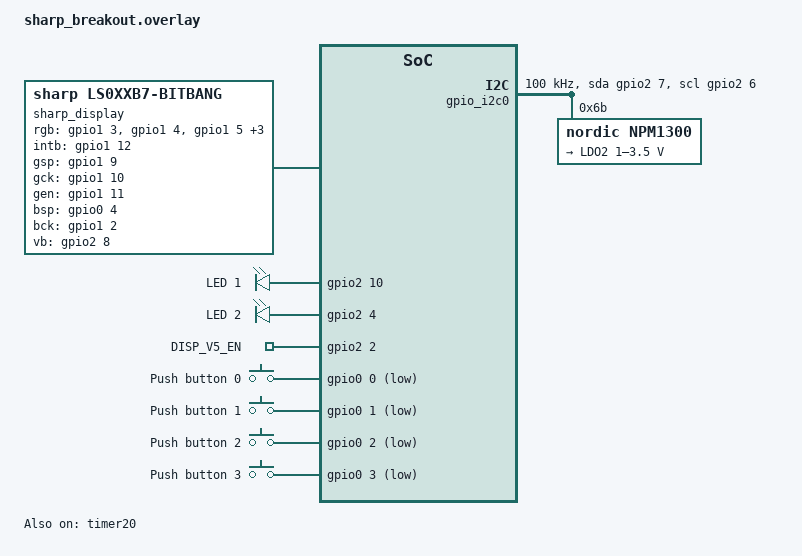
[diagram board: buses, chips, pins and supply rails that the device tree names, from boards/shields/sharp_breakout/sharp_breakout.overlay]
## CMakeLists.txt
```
# SPDX-License-Identifier: Apache-2.0

cmake_minimum_required(VERSION 3.20.0)
find_package(Zephyr REQUIRED HINTS $ENV{ZEPHYR_BASE})
project(sharp_bitbang)

target_sources(app PRIVATE src/main.c src/disp_vcom.c src/display_sharp_ls0xxb7_bitbang.c)
```

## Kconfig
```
source "Kconfig.zephyr"

menu "Sharp LS0XXB7 Display Options"

choice
    prompt "Display Mode"
    default SHARP_LS0XXB7_DISPLAY_MODE_COLOR

config SHARP_LS0XXB7_DISPLAY_MODE_COLOR
    bool "Color (2-bit per R/G/B). Currently internally represented as a 16-bit RGB565 value in the internal buffer to enable use with LGVL."

config SHARP_LS0XXB7_DISPLAY_MODE_MONOCHROME
    bool "Monochrome (1-bit). If black/white is all you need, this mode saves RAM by keeping only one bit per pixel in the buffer."

endchoice

endmenu
```

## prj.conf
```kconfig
CONFIG_GPIO=y
CONFIG_REGULATOR=y
CONFIG_REGULATOR_NPM1300=y
CONFIG_I2C=y
CONFIG_SENSOR=y
CONFIG_LED=y

CONFIG_FLASH=n
CONFIG_SPI=n

# CONFIG_EARLY_CONSOLE=y

CONFIG_NRFX_TIMER22=y
CONFIG_NRFX_GPPI=y

CONFIG_DISPLAY=y
# CONFIG_DISPLAY_LOG_LEVEL_DBG=y

CONFIG_NFCT_PINS_AS_GPIOS=y
# Use NFC pins as GPIOs to avoid conflicts with the display.

#
# Uncomment for 16-bit color.
#
CONFIG_LV_COLOR_DEPTH_16=y
CONFIG_LV_Z_BITS_PER_PIXEL=16
CONFIG_SHARP_LS0XXB7_DISPLAY_MODE_COLOR=y
# This is necessary to enforce that partial updates are lined up with the
# beginning of each row. The Sharp display only supports skipping full rows
# during partial updated, so we can never start a partial update in the middle
# of a row. This number must be a power of two, and the smallest one above the
# display width is enough.
# A better approach is to use capabilities->SCREEN_INFO_X_ALIGNMENT_WIDTH, but
# it currently is only used by monochrome pixel format displays.
CONFIG_LV_Z_AREA_X_ALIGNMENT_WIDTH=512

#
# Uncomment for monochrome mode.
#
# CONFIG_LV_Z_BITS_PER_PIXEL=1
# CONFIG_SHARP_LS0XXB7_DISPLAY_MODE_MONOCHROME=y

# Causes LVGL to keep the full screen buffer in RAM.
# CONFIG_LV_Z_FULL_REFRESH=y

# CONFIG_MAIN_STACK_SIZE=4096
CONFIG_MAIN_STACK_SIZE=16384

# RTT.
CONFIG_LOG_DEFAULT_LEVEL=3
# CONFIG_I2C_LOG_LEVEL_DBG=y
# CONFIG_GPIO_LOG_LEVEL_DBG=y
CONFIG_RTT_CONSOLE=y
CONFIG_USE_SEGGER_RTT=y
CONFIG_LOG=y
CONFIG_LOG_BACKEND_RTT=y
CONFIG_LOG_BACKEND_UART=n
CONFIG_LOG_BACKEND_RTT_BUFFER_SIZE=4096
CONFIG_SEGGER_RTT_BUFFER_SIZE_UP=4096

# CONFIG_UART_CONSOLE=n
# CONFIG_TFM_SECURE_UART=n
# CONFIG_LOG=n
# CONFIG_CONSOLE=n
# CONFIG_UART_CONSOLE=n
# CONFIG_RTT_CONSOLE=n
# CONFIG_LOG=n
CONFIG_CONSOLE=n
CONFIG_UART_CONSOLE=n
# CONFIG_RTT_CONSOLE=n

# LVGL.
CONFIG_LVGL=y
CONFIG_LV_Z_MEM_POOL_SIZE=16384

CONFIG_LV_USE_LOG=y
CONFIG_LV_LOG_LEVEL_ERROR=y
CONFIG_LV_USE_LABEL=y
CONFIG_LV_USE_ARC=y
CONFIG_LV_USE_MONKEY=y
CONFIG_LV_FONT_DEFAULT_MONTSERRAT_28=y

# BLE.
# CONFIG_BT=y
# CONFIG_BT_DEVICE_NAME="Relog"
# CONFIG_BT_CTLR_TX_PWR_PLUS_4=y

# UART
# CONFIG_LOG_DEFAULT_LEVEL=4

CONFIG_CBPRINTF_FP_SUPPORT=y

CONFIG_PM_DEVICE=y
CONFIG_SENSOR_LOG_LEVEL_DBG=y

# CONFIG_POWEROFF=y

CONFIG_HEAP_MEM_POOL_SIZE=50512
CONFIG_IDLE_STACK_SIZE=4096
CONFIG_SYSTEM_WORKQUEUE_STACK_SIZE=4096
CONFIG_MAIN_STACK_SIZE=4096
```

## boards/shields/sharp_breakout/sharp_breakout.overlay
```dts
#include <dt-bindings/regulator/npm1300.h>

/delete-node/ &pwm20;

/delete-node/ &uart30;

/delete-node/ &spi00;

/delete-node/ &pwm_led1;


/delete-node/ &uart20;

// bit-bang i2c.

// &i2c30 {
// 	status = "okay";
// 	pinctrl-0 = <&i2c30_default>;
// 	pinctrl-1 = <&i2c30_sleep>;
// 	pinctrl-names = "default", "sleep";
// };

&pinctrl {
	/delete-node/ spi00_default;
	/delete-node/ spi00_sleep;
	/delete-node/ uart30_default;
	/delete-node/ uart30_sleep;
	/delete-node/ pwm20_default;
	/delete-node/ pwm20_sleep;

	// If I comment these out, the display does not work?
	// /omit-if-no-ref/ i2c30_default: i2c30_default {
	// 	group1  {
	// 		psels = <NRF_PSEL(TWIM_SCL, 0, 1)>,
	// 				<NRF_PSEL(TWIM_SDA, 0, 0)>;
	// 		// psels = <NRF_PSEL(TWIM_SCL, 2, 6)>,
	// 		// 		<NRF_PSEL(TWIM_SDA, 2, 7)>;
	// 		bias-pull-up;
	// 	};
	// };

	// /omit-if-no-ref/ i2c30_sleep: i2c30_sleep {
	// 	group1  {
	// 		psels = <NRF_PSEL(TWIM_SCL, 0, 1)>,
	// 				<NRF_PSEL(TWIM_SDA, 0, 0)>;
	// 		// psels = <NRF_PSEL(TWIM_SCL, 2, 6)>,
	// 		// 		<NRF_PSEL(TWIM_SDA, 2, 7)>;
	// 		low-power-enable;
	// 		bias-pull-up;
	// 	};
	// };

};

&nfct {
	status = "disabled";
};

// &uicr {
// 	nfct-pins-as-gpios;
// };

/ {

	chosen {
		zephyr,display = &sharp_display;

		/delete-property/ zephyr,console;
		/delete-property/ zephyr,shell-uart;
		/delete-property/ zephyr,uart-mcumgr;
		/delete-property/ zephyr,bt-mon-uart;
		/delete-property/ zephyr,bt-c2h-uart;
	};

	sharp_display: sharp_ls0xxb7 {
		compatible = "sharp,ls0xxb7-bitbang";
		status = "okay";
		height = <280>;
		width = <280>;
		rgb-gpios =
								<&gpio1 3 GPIO_ACTIVE_HIGH>,
								<&gpio1 4 GPIO_ACTIVE_HIGH>,  // r1 [1]
								<&gpio1 5 GPIO_ACTIVE_HIGH>,  // g0 [2]
								<&gpio1 6 GPIO_ACTIVE_HIGH>,  // g1 [3]
								<&gpio1 7 GPIO_ACTIVE_HIGH>,  // b0 [4]
								<&gpio1 8 GPIO_ACTIVE_HIGH>;  // b1 [5]
								intb-gpios = <&gpio1 12 GPIO_ACTIVE_HIGH>;
		gsp-gpios = <&gpio1 9 GPIO_ACTIVE_HIGH>;
		gck-gpios = <&gpio1 10 GPIO_ACTIVE_HIGH>;
		gen-gpios = <&gpio1 11 GPIO_ACTIVE_HIGH>;
		bsp-gpios = <&gpio0 4 GPIO_ACTIVE_HIGH>;
		bck-gpios = <&gpio1 2 GPIO_ACTIVE_HIGH>;
		vb-gpios = <&gpio2 8 GPIO_ACTIVE_HIGH>;
		va-gpios = <&gpio2 9 GPIO_ACTIVE_HIGH>;
		vcom-freq = <30>;
	};

	/delete-node/ aliases;


	leds {
		compatible = "gpio-leds";
		led1: led_1 {
			gpios = <&gpio2 10 0>;
			label = "LED 1";
		};

		led2: led_2 {
			gpios = <&gpio2 4 GPIO_ACTIVE_HIGH>;
			label = "LED 2";
		};

		dispv5en: dispv5_en {
			gpios = <&gpio2 2 GPIO_ACTIVE_HIGH>;
			label = "DISP_V5_EN";
		};
	};

	buttons {
		compatible = "gpio-keys";
		// Defaults to 30ms.
		debounce-interval-ms = <60>;
		button0: button_0 {
			gpios = <&gpio0 0 (GPIO_PULL_UP | GPIO_ACTIVE_LOW)>;
			label = "Push button 0";
			zephyr,code = <INPUT_KEY_0>;
		};
		button1: button_1 {
			gpios = <&gpio0 1 (GPIO_PULL_UP | GPIO_ACTIVE_LOW)>;
			label = "Push button 1";
			zephyr,code = <INPUT_KEY_1>;
		};
		button2: button_2 {
			gpios = <&gpio0 2 (GPIO_PULL_UP | GPIO_ACTIVE_LOW)>;
			label = "Push button 2";
			zephyr,code = <INPUT_KEY_2>;
		};
		button3: button_3 {
			gpios = <&gpio0 3 (GPIO_PULL_UP | GPIO_ACTIVE_LOW)>;
			label = "Push button 3";
			zephyr,code = <INPUT_KEY_3>;
		};
	};

	gpio_i2c0: gpio_i2c {
		compatible = "gpio-i2c";
		status = "okay";
		clock-frequency = <I2C_BITRATE_STANDARD>;
		// clock-frequency = <I2C_BITRATE_FAST>;
		sda-gpios = <&gpio2 7 (GPIO_OPEN_DRAIN | GPIO_PULL_UP)>;
		scl-gpios = <&gpio2 6 (GPIO_OPEN_DRAIN | GPIO_PULL_UP)>;
		#address-cells = <1>;
		#size-cells = <0>;

		sht4x@44 {
			compatible = "sensirion,sht4x";
			reg = <0x44>;
			label = "SHT40";
			// status = "okay";
			status = "disabled";
			repeatability= <2>;

			// Without this, the display does not work. Possibly because the npm1300 fails to intiialize?
			// But we need to call device_init() at runtime.
			zephyr,deferred-init;
		};

		lsm6dsl: lsm6dsl@6a {
			compatible = "st,lsm6dsl";
			reg = <0x6a>;
			// status = "okay";
			status = "disabled";
			label = "LSM6DSL";
		};

		npm1300: npm1300@6b {
			compatible = "nordic,npm1300";
			status = "okay";
			reg = <0x6b>;

			// leds.
			npm1300_leds: leds {
				compatible = "nordic,npm1300-led";
				nordic,led0-mode = "charging";
				nordic,led1-mode = "host";
				nordic,led2-mode = "error";
			};

			npm1300_charger: charger {
				status = "okay";
				compatible = "nordic,npm1300-charger";
				term-microvolt = <4150000>;
				term-warm-microvolt = <4000000>;
				current-microamp = <32000>;
				vbus-limit-microamp = <100000>;
				dischg-limit-microamp = <200000>;
				thermistor-ohms = <0>;
				thermistor-beta = <3380>;
				charging-enable;

				// compatible = "nordic,npm1300-charger";
				// term-microvolt = <4150000>;
				// term-warm-microvolt = <4000000>;
				// current-microamp = <150000>;
				// dischg-limit-microamp = <1000000>;
				// vbus-limit-microamp = <500000>;
				// thermistor-ohms = <0>;
				// thermistor-beta = <3380>;
				// charging-enable;
			};

			npm1300_regulators: regulators {
				compatible = "nordic,npm1300-regulator";

				BUCK1 {
					status = "disabled";
				};

				BUCK2 {
					status = "disabled";
				};

				LDO1 {
					status = "disabled";
				};

				LDO2 {
					regulator-min-microvolt = <1000000>;
					regulator-max-microvolt = <3500000>;
					regulator-boot-on;
					regulator-always-on;
					status = "okay";

					// status = "disabled";

					// Not needed?
					regulator-initial-mode = <NPM1300_LDSW_MODE_LDSW>;
				};

			};
		};

	};

};

// &uicr {
// 	nfct-pins-as-gpios;
// };

&timer20 {
	status = "okay";
};
```

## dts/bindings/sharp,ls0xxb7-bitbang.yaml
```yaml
# Copyright 2025 Nordic Semiconductor
#
# SPDX-License-Identifier: Apache-2.0

description: |
  Sharp 64 color memory-in-pixel bit banged controller. Emulates proprietary parallel interface.

compatible: "sharp,ls0xxb7-bitbang"

include: [display-controller.yaml]

properties:
  rgb-gpios:
    type: phandle-array
    required: true
    description: |
      Must contain references to 6 GPIO for 2 bit RGB color.
  intb-gpios:
    type: phandle-array
    required: true
    description: |
      Initial signal for binary driver && gate driver
  gsp-gpios:
    type: phandle-array
    required: true
    description: |
      Start signal for gate driver
  gck-gpios:
    type: phandle-array
    required: true
    description: |
      Clock for gate driver
  gen-gpios:
    type: phandle-array
    required: true
    description: |
      Gate enable
  bsp-gpios:
    type: phandle-array
    required: true
    description: |
      Start signal for binary driver
  bck-gpios:
    type: phandle-array
    required: true
    description: |
      Clock for binary driver
  vb-gpios:
    type: phandle-array
    required: true
    description: |
      VB black signal voltage for LCD, also connected to VCOM.

      If omitted, the VB/VCOM signals are not generated and the pin
      is assumed to be driven by other means.
  va-gpios:
    type: phandle-array
    required: false
    description: |
      VA, white signal voltage for LCD.

      If omitted, the VA signal is not generated and the pin is assumed to be driven by other means.
  vcom-freq:
    type: int
    default: 30
    enum:
      - 30
      - 60
    description: |
      Frequency of VCOM in Hertz
```

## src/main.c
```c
#include <lvgl.h>
#include <lvgl_display.h>
#include <stdio.h>
#include <zephyr/device.h>
#include <zephyr/drivers/display.h>
#include <zephyr/drivers/gpio.h>
#include <zephyr/drivers/led.h>
#include <zephyr/dt-bindings/gpio/nordic-nrf-gpio.h>
#include <zephyr/kernel.h>
#include <zephyr/logging/log.h>

// nPM1300.
#include <zephyr/drivers/mfd/npm1300.h>
#include <zephyr/drivers/regulator.h>
#include <zephyr/dt-bindings/regulator/npm1300.h>

// sht40.
#include <zephyr/drivers/sensor/sht4x.h>

// Power management.
#include <zephyr/pm/device.h>

// static const struct device *regulators =
//     DEVICE_DT_GET(DT_NODELABEL(npm1300_regulators));
// static const struct device *ldo2 = DEVICE_DT_GET(DT_NODELABEL(npm1300_ldo2));

// BLE.
// #include <zephyr/bluetooth/bluetooth.h>
// #include <zephyr/bluetooth/hci.h>
// #define DEVICE_NAME CONFIG_BT_DEVICE_NAME
// #define DEVICE_NAME_LEN (sizeof(DEVICE_NAME) - 1)

// static const struct bt_data ad[] = {
//     BT_DATA_BYTES(BT_DATA_FLAGS, BT_LE_AD_NO_BREDR),
//     BT_DATA_BYTES(BT_DATA_UUID16_ALL, 0xaa, 0xfe),
//     BT_DATA_BYTES(BT_DATA_SVC_DATA16, 0xaa, 0xfe, /* Eddystone UUID */
//                   0x10,                           /* Eddystone-URL frame type
//                   */ 0x00, /* Calibrated Tx power at 0m */ 0x00, /* URL
//                   Scheme Prefix http://www. */ 'z', 'e', 'p', 'h', 'y', 'r',
//                   'p', 'r', 'o', 'j', 'e', 'c', 't', 0x08) /* .org */
// };

// /* Set Scan Response data */
// static const struct bt_data sd[] = {
//     BT_DATA(BT_DATA_NAME_COMPLETE, DEVICE_NAME, DEVICE_NAME_LEN),
// };

static const struct device *leds = DEVICE_DT_GET(DT_NODELABEL(npm1300_leds));

LOG_MODULE_REGISTER(main, CONFIG_DISPLAY_LOG_LEVEL);

// #define DISPLAY_H DT_PROP(DT_NODELABEL(sharp_display), height)
// #define DISPLAY_W DT_PROP(DT_NODELABEL(sharp_display), width)

static const struct device *display_dev =
    DEVICE_DT_GET(DT_NODELABEL(sharp_display));

// static const struct gpio_dt_spec vddio_en =
//     GPIO_DT_SPEC_GET(DT_NODELABEL(vddio_en), gpios);
// static const struct gpio_dt_spec vbus_en =
//     GPIO_DT_SPEC_GET(DT_NODELABEL(vbus_en), gpios);
static const struct gpio_dt_spec dispv5en =
    GPIO_DT_SPEC_GET(DT_NODELABEL(dispv5en), gpios);

static const struct gpio_dt_spec led0 =
    GPIO_DT_SPEC_GET(DT_NODELABEL(led1), gpios);

// Buttons.
static const struct gpio_dt_spec button0 =
    GPIO_DT_SPEC_GET(DT_NODELABEL(button0), gpios);
static const struct gpio_dt_spec button1 =
    GPIO_DT_SPEC_GET(DT_NODELABEL(button1), gpios);

static struct gpio_callback button_cb_data;

// Callbacks.
static void button_pressed(const struct device *dev, struct gpio_callback *cb,
                           uint32_t pins) {
  LOG_INF("Button pressed: pins %d", pins);
}

// static void bt_ready(int err) {
//   char addr_s[BT_ADDR_LE_STR_LEN];
//   bt_addr_le_t addr = {0};
//   size_t count = 1;

//   if (err) {
//     LOG_ERR("Bluetooth init failed (err %d)\n", err);
//     return;
//   }

//   LOG_INF("Bluetooth initialized\n");

//   /* Start advertising */
//   err = bt_le_adv_start(BT_LE_ADV_NCONN_IDENTITY, ad, ARRAY_SIZE(ad), sd,
//                         ARRAY_SIZE(sd));
//   if (err) {
//     LOG_ERR("Advertising failed to start (err %d)\n", err);
//     return;
//   }

//   /* For connectable advertising you would use
//    * bt_le_oob_get_local().  For non-connectable non-identity
//    * advertising an non-resolvable private address is used;
//    * there is no API to retrieve that.
//    */

//   bt_id_get(&addr, &count);
//   bt_addr_le_to_str(&addr, addr_s, sizeof(addr_s));

//   LOG_INF("Beacon started, advertising as %s\n", addr_s);
// }

int main(void) {
  NRF_NFCT->PADCONFIG = 0;

  // gpio_pin_configure_dt(&vddio_en, GPIO_OUTPUT_HIGH);
  // gpio_pin_configure_dt(&vbus_en, GPIO_OUTPUT_HIGH);
  LOG_INF("Okay0!");
  gpio_pin_configure_dt(&led0, GPIO_OUTPUT);
  gpio_pin_configure_dt(&dispv5en, GPIO_OUTPUT_HIGH);

  LOG_INF("Okay1!");

  // Configure buttons.
  int ret = 0;
  ret = gpio_pin_configure_dt(&button0, GPIO_INPUT);
  if (ret != 0) {
    LOG_ERR("Error %d: failed to configure %s pin %d\n", ret,
            button0.port->name, button0.pin);
    return 0;
  }

  ret = gpio_pin_interrupt_configure_dt(&button0, GPIO_INT_EDGE_TO_ACTIVE);
  if (ret != 0) {
    LOG_ERR("Error %d: failed to configure %s pin %d\n", ret,
            button0.port->name, button0.pin);
    return 0;
  }

  ret = gpio_pin_configure_dt(&button1, GPIO_INPUT);
  if (ret != 0) {
    LOG_ERR("Error %d: failed to configure %s pin %d\n", ret,
            button1.port->name, button1.pin);
    return 0;
  }
  ret = gpio_pin_interrupt_configure_dt(&button1, GPIO_INT_EDGE_TO_ACTIVE);
  if (ret != 0) {
    LOG_ERR("Error %d: failed to configure %s pin %d\n", ret,
            button1.port->name, button1.pin);
    return 0;
  }

  gpio_init_callback(&button_cb_data, button_pressed,
                     BIT(button0.pin) | BIT(button1.pin));

  ret = gpio_add_callback(button0.port, &button_cb_data);
  if (ret != 0) {
    LOG_ERR("Error %d: failed to add callback for %s pin %d\n", ret,
            button0.port->name, button0.pin);
    return 0;
  }

  // if (!device_is_ready(regulators)) {
  //   LOG_ERR("Error: Regulator device is not ready\n");
  //   return 0;
  // }

  // if (!device_is_ready(ldo2)) {
  //   LOG_ERR("Error: LDO2 device is not ready\n");
  //   return 0;
  // }

  // ret = bt_enable(bt_ready);
  // if (ret) {
  //   LOG_ERR("Bluetooth init failed (err %d)\n", ret);
  // }

  // Power up.
  // gpio_pin_set_dt(&vddio_en, 1);
  // k_busy_wait(1000);
  // gpio_pin_set_dt(&vbus_en, 1);
  // k_busy_wait(1000);

  // ~186uA -> 209uA (20 uA)
  gpio_pin_set_dt(&dispv5en, 1);
  k_busy_wait(1000);

  // 5v pump: 186 -> 209ua = 20uA
  // vb/va: 209uA -> 170uA = 39uA
  // Display disconnected: 209uA -> 150uA = 59 uA (color)
  // Display partial update every second: 209uA -> 434 uA
  // During display update: 209uA -> 1.2mA
  // Without display in dts (but display connected): 209uA -> 170 uA.
  // Without display in dts and display disconnected: 209uA -> 170 uA as well!

  // Without display, disconnected, charge pump off: 146 uA.
  // Without display, disconnected, charge pump off, LDO2 disabled: 146 uA

  // Without display, disconnected, charge pump off, LDO2 disabled, system off
  // 144 uA
  // Without display, disconnected, charge pump off, LDO2 disabled, system off,
  // lsm6 disabled: 1.2 mA!!!
  // Without display, disconnected, charge pump off, LDO2 disabled, system off,
  // sht4x disabled: 146 uA
  // Without display, disconnected, charge pump off, LDO2 disabled, system off,
  // CONFIG_LOG=n:

  // So: 20 + 39 + 59 = 118uA

  // From datasheet:
  // SHT4x start at 30uA (power up) then goes into idle at 1uA.
  // LSM6DSL: 3uA in power down mode.

  // With everything off:

  if (!device_is_ready(display_dev)) {
    LOG_ERR("Device not ready, aborting test");
    return 0;
  }

  // lv_disp_set_rotation(lv_disp_get_default(), LV_DISP_ROT_180);

  // lv_obj_t *scr = lv_scr_act();
  lv_obj_t *scr = lv_screen_active();

  // Square.
  lv_obj_t *square = lv_obj_create(scr);
  lv_obj_set_style_bg_opa(square, LV_OPA_COVER, LV_PART_MAIN);
  lv_obj_set_size(square, 180, 128);
  lv_obj_align(square, LV_ALIGN_CENTER, 0, 0);

  // Text.
  lv_obj_t *label = lv_label_create(scr);
  lv_label_set_long_mode(label, LV_LABEL_LONG_WRAP);
  lv_obj_set_width(label, 110);
  lv_label_set_text(label, "Hello, world");
  lv_obj_align(label, LV_ALIGN_CENTER, 0, 0);

#if CONFIG_SHARP_LS0XXB7_DISPLAY_MODE_MONOCHROME
  // lv_obj_set_style_bg_color(square, lv_color_black(), LV_PART_MAIN);
#elif CONFIG_SHARP_LS0XXB7_DISPLAY_MODE_COLOR
  // Paint background white.
  static lv_style_t style_bg_white;
  lv_style_init(&style_bg_white);
  lv_style_set_bg_color(&style_bg_white, lv_color_white());
  // lv_style_set_bg_color(&style_bg_white, lv_color_hex(0x0000ff));
  lv_style_set_bg_opa(&style_bg_white, LV_OPA_COVER);
  lv_obj_add_style(scr, &style_bg_white, LV_PART_MAIN);

  // Square.
  static lv_style_t style;
  lv_style_init(&style);
  lv_style_set_bg_color(&style, lv_color_hex(0x00ff00));
  lv_style_set_border_color(&style, lv_color_hex(0x0000ff));
  lv_style_set_border_width(&style, 4);
  lv_obj_add_style(square, &style, LV_PART_MAIN);
  lv_obj_update_layout(square);

  // Paint text red.
  static lv_style_t style_red;
  lv_style_init(&style_red);
  lv_style_set_text_color(&style_red, lv_color_hex(0xff0000));
  lv_obj_add_style(label, &style_red, LV_PART_MAIN);
#endif  // CONFIG_SHARP_LS0XXB7_DISPLAY_MODE_COLOR

  LOG_INF("Okay2!");
  // lv_disp_set_rotation(NULL, LV_DISP_ROT_180);

  // SHT40.
  // const struct device *const sht = DEVICE_DT_GET_ANY(sensirion_sht4x);
  // struct sensor_value temp, hum;
  // if (!device_is_ready(sht)) {
  //   LOG_WRN("SHT40 %s is not ready.\n", sht->name);

  //   // Enable sht.
  //   ret = device_init(sht);
  //   if (ret < 0) {
  //     LOG_ERR("Error: %d\n", ret);
  //     return 0;
  //   }
  //   LOG_INF("SHT40 %s is ready.\n", sht->name);
  //   // return 0;
  // }
  // LOG_INF("SHT40 %s is ready.\n", sht->name);

  // LSM6DSL.
  // struct sensor_value accel[3];
  // const struct device *lsm6 = DEVICE_DT_GET_ANY(st_lsm6dsl);
  // if (!device_is_ready(lsm6)) {
  //   LOG_ERR("Device %s is not ready\n", lsm6->name);
  //   return 0;
  // }

  // // Suspend LSM6DSL.
  // ret = pm_device_action_run(lsm6, PM_DEVICE_ACTION_SUSPEND);
  // if (ret < 0) {
  //   LOG_ERR("Error in pm_device_action_run: %d\n", ret);
  //   return 0;
  // }
  // LOG_INF("LSM6DSL %s is suspended\n", lsm6->name);

  // LOG_INF("Device %s is ready\n", lsm6->name);
  // struct sensor_value odr_attr;
  // odr_attr.val1 = 104;
  // odr_attr.val2 = 0;
  // if (sensor_attr_set(lsm6, SENSOR_CHAN_ACCEL_XYZ,
  //                     SENSOR_ATTR_SAMPLING_FREQUENCY, &odr_attr) < 0) {
  //   printk("Cannot set sampling frequency for accelerometer.\n");
  //   return 0;
  // }

  // if (sensor_attr_set(lsm6, SENSOR_CHAN_GYRO_XYZ,
  //                     SENSOR_ATTR_SAMPLING_FREQUENCY, &odr_attr) < 0) {
  //   printk("Cannot set sampling frequency for gyro.\n");
  //   return 0;
  // }

  // sys_poweroff();

  int x = 100;
  char buf[32];
  // char out_str[64];
  while (1) {
    // lv_task_handler();
    lv_timer_handler();

    // 100ms: 400uA
    // 20000ms:
    // - 50 uA without va/vb
    // - 55 uA with va/vb
    // 1000ms:
    // - 72 uA with va/vb

    k_msleep(1000);

    // Update counter.
    snprintf(buf, sizeof(buf), "x: %d", x);
    lv_label_set_text(label, buf);
    x += 1;

    // Toggle LED.
    // gpio_pin_toggle_dt(&led0);

    // if (sensor_sample_fetch(sht)) {
    //   printf("Failed to fetch sample from SHT4X device\n");
    //   return 0;
    // }

    // sensor_channel_get(sht, SENSOR_CHAN_AMBIENT_TEMP, &temp);
    // // sensor_channel_get(sht, SENSOR_CHAN_HUMIDITY, &hum);

    // LOG_INF("Temperature: %d.%06d C", temp.val1, temp.val2);
    // // LOG_INF("Humidity: %d.%06d %%", hum.val1, hum.val2);

    // // Accel.
    // // if (sensor_sample_fetch(lsm6, SENSOR_CHAN_ACCEL_XYZ) < 0) {
    // if (sensor_sample_fetch_chan(lsm6, SENSOR_CHAN_ACCEL_XYZ) < 0) {
    //   LOG_ERR("LSM6DSL: sample fetch error\n");
    //   continue;
    // }

    // sensor_channel_get(lsm6, SENSOR_CHAN_ACCEL_XYZ, accel);
    // sprintf(out_str, "x:%f ms/2\ny:%f ms/2\nz:%f ms/2",
    //         sensor_value_to_double(&accel[0]),
    //         sensor_value_to_double(&accel[1]),
    //         sensor_value_to_double(&accel[2]));
    // LOG_INF("%s", out_str);

    // sprintf(
    //     out_str, "x:%.1f\ny:%.1f\nz:%.1f", sensor_value_to_double(&accel[0]),
    //     sensor_value_to_double(&accel[1]),
    //     sensor_value_to_double(&accel[2]));
    // lv_label_set_text(label, out_str);

    // led_on(leds, 0);
    // k_msleep(500);
    // led_off(leds, 0);

    // Enable regulator.
    // int ret = 0;
    // if (x % 2 == 0) {
    //   ret = regulator_disable(ldo2);
    // } else {
    //   ret = regulator_enable(ldo2);
    // }
    // if (ret < 0) {
    //   LOG_ERR("Error togglign regulator: %d", ret);
    // }
  }

  return 0;
}
```

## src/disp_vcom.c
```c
// This is a lower-level, zephyrless module that uses timers, GPIOTE and (D)PPI
// to generate VCOM/VB and VA signals without CPU intervention. Based on sample
// code:
// https://github.com/zephyrproject-rtos/hal_nordic/blob/master/nrfx/samples/src/nrfx_gppi/fork/main.c

// Relevant dev academy course:
// https://academy.nordicsemi.com/courses/nrf-connect-sdk-intermediate/lessons/lesson-6-analog-to-digital-converter-adc/topic/exercise-3-interfacing-with-adc-using-nrfx-drivers-and-timer-ppi/

// nrfx docs:
// - Zephyr:
// https://docs.zephyrproject.org/latest/samples/boards/nordic/nrfx/README.html
// - nRF54L15:
// https://docs.nordicsemi.com/bundle/ps_nrf5340/page/dppi.html

#include "disp_vcom.h"

#include <hal/nrf_gpio.h>
#include <helpers/nrfx_gppi.h>
#include <nrfx_gpiote.h>
#include <nrfx_timer.h>
#include <zephyr/kernel.h>
#if defined(DPPI_PRESENT)
#include <nrfx_dppi.h>
#else
#include <nrfx_ppi.h>
#endif

#define D_GPIO_PORT(pin) \
  DT_PROP_BY_PHANDLE_IDX(DT_NODELABEL(sharp_display), pin##_gpios, 0, port)
#define D_GPIO_PIN(pin) DT_GPIO_PIN(DT_NODELABEL(sharp_display), pin##_gpios)
#define D_GPIO_ABS_PIN(pin) NRF_GPIO_PIN_MAP(D_GPIO_PORT(pin), D_GPIO_PIN(pin))

#define TIMER_INST_IDX 22
#define TIME_TO_WAIT_MS (1000 / DT_PROP(DT_NODELABEL(sharp_display), vcom_freq))

// GPIOTE30 is in the GPIO P0 domain (see figure 1 -- block diagram page 15 on
// nRF54L15 datasheet).
#define GPIOTE_INST_IDX_P0 30
// GPIOTE20 is in the GPIO P1 domain.
#define GPIOTE_INST_IDX_P1 20

#define OUTPUT_PIN_PRIMARY D_GPIO_ABS_PIN(vb)  // p0
#define OUTPUT_PIN_FORK D_GPIO_ABS_PIN(va)     // p1

int disp_vcom_init(void) {
  nrfx_err_t status;
  (void)status;

  uint8_t out_channel_primary, out_channel_fork;
  uint8_t gppi_channel_p0, gppi_channel_p1;

#if defined(__ZEPHYR__)
  IRQ_CONNECT(NRFX_IRQ_NUMBER_GET(NRF_TIMER_INST_GET(TIMER_INST_IDX)),
              IRQ_PRIO_LOWEST, NRFX_TIMER_INST_HANDLER_GET(TIMER_INST_IDX), 0,
              0);

  // Not needed? See:
  // https://devzone.nordicsemi.com/f/nordic-q-a/110123/ncs-v2-6-0-instructions-to-use-gpiote-and-zephyr-gpio-api
  // IRQ_CONNECT(NRFX_IRQ_NUMBER_GET(NRF_GPIOTE_INST_GET(GPIOTE_INST_IDX_P0)),
  //             IRQ_PRIO_LOWEST,
  //             NRFX_GPIOTE_INST_HANDLER_GET(GPIOTE_INST_IDX_p0), 0, 0);
#endif

  nrfx_gpiote_t const gpiote_inst_p0 = NRFX_GPIOTE_INSTANCE(GPIOTE_INST_IDX_P0);
  status = nrfx_gpiote_init(&gpiote_inst_p0,
                            NRFX_GPIOTE_DEFAULT_CONFIG_IRQ_PRIORITY);
  NRFX_ASSERT(status == NRFX_SUCCESS);

  status = nrfx_gpiote_channel_alloc(&gpiote_inst_p0, &out_channel_primary);
  NRFX_ASSERT(status == NRFX_SUCCESS);

  nrfx_gpiote_t const gpiote_inst_p1 = NRFX_GPIOTE_INSTANCE(GPIOTE_INST_IDX_P1);
  status = nrfx_gpiote_init(&gpiote_inst_p1,
                            NRFX_GPIOTE_DEFAULT_CONFIG_IRQ_PRIORITY);
  NRFX_ASSERT(status == NRFX_SUCCESS);

  status = nrfx_gpiote_channel_alloc(&gpiote_inst_p1, &out_channel_fork);
  NRFX_ASSERT(status == NRFX_SUCCESS);

  // Configure tasks. Both will toggle VB and VA.
  static const nrfx_gpiote_output_config_t output_config = {
      .drive = NRF_GPIO_PIN_S0S1,
      .input_connect = NRF_GPIO_PIN_INPUT_DISCONNECT,
      .pull = NRF_GPIO_PIN_NOPULL,
  };

  nrfx_gpiote_task_config_t task_config = {
      .task_ch = out_channel_primary,
      .polarity = NRF_GPIOTE_POLARITY_TOGGLE,
      .init_val = NRF_GPIOTE_INITIAL_VALUE_HIGH,
  };

  status = nrfx_gpiote_output_configure(&gpiote_inst_p0, OUTPUT_PIN_PRIMARY,
                                        &output_config, &task_config);
  NRFX_ASSERT(status == NRFX_SUCCESS);

  nrfx_gpiote_out_task_enable(&gpiote_inst_p0, OUTPUT_PIN_PRIMARY);

  task_config.task_ch = out_channel_fork;
  task_config.init_val = NRF_GPIOTE_INITIAL_VALUE_LOW;

  status = nrfx_gpiote_output_configure(&gpiote_inst_p1, OUTPUT_PIN_FORK,
                                        &output_config, &task_config);
  NRFX_ASSERT(status == NRFX_SUCCESS);

  nrfx_gpiote_out_task_enable(&gpiote_inst_p1, OUTPUT_PIN_FORK);

  // Set up timer.

  nrfx_timer_t timer_inst = NRFX_TIMER_INSTANCE(TIMER_INST_IDX);
  uint32_t base_frequency = NRF_TIMER_BASE_FREQUENCY_GET(timer_inst.p_reg);
  nrfx_timer_config_t timer_config = NRFX_TIMER_DEFAULT_CONFIG(base_frequency);
  timer_config.bit_width = NRF_TIMER_BIT_WIDTH_32;
  timer_config.p_context = "Some context";

  status =
      nrfx_timer_init(&timer_inst, &timer_config, /*timer_event_handler=*/NULL);
  NRFX_ASSERT(status == NRFX_SUCCESS);

  nrfx_timer_clear(&timer_inst);

  uint32_t desired_ticks = nrfx_timer_ms_to_ticks(&timer_inst, TIME_TO_WAIT_MS);

  nrfx_timer_extended_compare(&timer_inst, NRF_TIMER_CC_CHANNEL0, desired_ticks,
                              NRF_TIMER_SHORT_COMPARE0_CLEAR_MASK,
                              /*enable_int=*/false);

  nrfx_timer_extended_compare(&timer_inst, NRF_TIMER_CC_CHANNEL1, desired_ticks,
                              NRF_TIMER_SHORT_COMPARE0_CLEAR_MASK,
                              /*enable_int=*/false);

  // Allocate GPPI channels.
  // According to the documentation, I should be able to use a single channel
  // and multiple subscribers, but I did not manage to get that to work. Indeed,
  // if both subscribers are on the same GPIOTE instance, things work. But using
  // different GPIOTE instances (the one for P0 and for P1), it did not.
  status = nrfx_gppi_channel_alloc(&gppi_channel_p0);
  NRFX_ASSERT(status == NRFX_SUCCESS);

  status = nrfx_gppi_channel_alloc(&gppi_channel_p1);
  NRFX_ASSERT(status == NRFX_SUCCESS);

  nrfx_gppi_channel_endpoints_setup(
      gppi_channel_p0,
      // Event register.
      nrfx_timer_compare_event_address_get(&timer_inst, NRF_TIMER_CC_CHANNEL0),
      // Task register.
      nrfx_gpiote_out_task_address_get(&gpiote_inst_p0, OUTPUT_PIN_PRIMARY));

  nrfx_gppi_channel_endpoints_setup(
      gppi_channel_p1,
      // Event register.
      nrfx_timer_compare_event_address_get(&timer_inst, NRF_TIMER_CC_CHANNEL1),
      // Task register.
      nrfx_gpiote_out_task_address_get(&gpiote_inst_p1, OUTPUT_PIN_FORK));

  nrfx_gppi_channels_enable(BIT(gppi_channel_p0) | BIT(gppi_channel_p1));

  nrfx_timer_enable(&timer_inst);

  return 0;
}
```

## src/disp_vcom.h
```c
#ifndef __DISP_VCOM_H__
#define __DISP_VCOM_H__

// Initializes the display alternating VCOM/VB and VA signals.
// It uses TIMER + GPIOTE + PPI peripherals to generate the alternating signals
// without CPU intervention.
int disp_vcom_init(void);

#endif  // __DISP_VCOM_H__
```

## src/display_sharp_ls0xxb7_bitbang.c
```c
/*
 *  Bit-banging driver for Sharp LS0XXB7 displays. It currently only works with
 *  the LS014B7DD01 display.
 */

#include <zephyr/logging/log.h>
LOG_MODULE_REGISTER(sharp_mip_parallel, CONFIG_DISPLAY_LOG_LEVEL);

#include <stdint.h>
#include <zephyr/drivers/display.h>
#include <zephyr/drivers/gpio.h>
#include <zephyr/kernel.h>

struct rgb_port {
  const struct device *port;
  // Bitmask of GPIO indexed into config->rgb that are connected to this port.
  uint8_t rgb_idx_mask;
  gpio_port_pins_t port_mask;
};

// Private mutable data for the driver.
struct sharp_mip_data {
  K_KERNEL_STACK_MEMBER(vcom_thread_stack, /*size=*/256);
  struct k_thread vcom_thread;

  // Optimization for RGB pins.
  struct rgb_port rgb_ports[3];
};

// Private const data for the driver.
struct sharp_mip_config {
  uint16_t height;
  uint16_t width;

  struct gpio_dt_spec intb;
  struct gpio_dt_spec gsp;
  struct gpio_dt_spec gck;
  struct gpio_dt_spec gen;
  struct gpio_dt_spec bsp;
  struct gpio_dt_spec bck;
  struct gpio_dt_spec rgb[6];

  struct gpio_dt_spec vcom_vb;
  struct gpio_dt_spec va;
  int vcom_freq;
};

static void vcom_thread(void *config, void *unused1, void *unused2) {
  const struct sharp_mip_config *cfg = config;

  // Ensure out of phase.
  gpio_pin_set_dt(&cfg->vcom_vb, 1);
  gpio_pin_set_dt(&cfg->va, 0);

  while (1) {
    gpio_pin_toggle_dt(&cfg->vcom_vb);
    gpio_pin_toggle_dt(&cfg->va);
    k_msleep(1000 / cfg->vcom_freq);
  }
}

#define SET_GPIO_OUTPUT(ret, name)                       \
  do {                                                   \
    if (!device_is_ready(name.port)) {                   \
      LOG_ERR(#name " GPIO port not ready");             \
      return -ENODEV;                                    \
    }                                                    \
    ret = gpio_pin_configure_dt(&name, GPIO_OUTPUT);     \
    if (ret < 0) {                                       \
      LOG_ERR(#name " GPIO pin config failed: %d", ret); \
      return ret;                                        \
    }                                                    \
  } while (0)

static int sharp_mip_init(const struct device *dev) {
  const struct sharp_mip_config *config = dev->config;
  struct sharp_mip_data *data = dev->data;

  int ret;

  SET_GPIO_OUTPUT(ret, config->intb);
  SET_GPIO_OUTPUT(ret, config->gsp);
  SET_GPIO_OUTPUT(ret, config->gck);
  SET_GPIO_OUTPUT(ret, config->gen);
  SET_GPIO_OUTPUT(ret, config->bsp);
  SET_GPIO_OUTPUT(ret, config->bck);
  for (int i = 0; i < sizeof(config->rgb) / sizeof(config->rgb[0]); i++) {
    SET_GPIO_OUTPUT(ret, config->rgb[i]);
  }

  SET_GPIO_OUTPUT(ret, config->vcom_vb);
  SET_GPIO_OUTPUT(ret, config->va);
  k_thread_create(&data->vcom_thread, data->vcom_thread_stack,
                  K_KERNEL_STACK_SIZEOF(data->vcom_thread_stack),
                  (k_thread_entry_t)vcom_thread, /*arg1=*/(void *)config,
                  /*arg2=*/NULL, /*arg3=*/NULL, K_PRIO_PREEMPT(7),
                  /*options=*/0, K_NO_WAIT);

  // Collect RGB gpios into data->rgb_ports.
  for (int gpio_idx = 0;
       gpio_idx < sizeof(config->rgb) / sizeof(config->rgb[0]); gpio_idx++) {
    for (int port_idx = 0;
         port_idx < sizeof(data->rgb_ports) / sizeof(data->rgb_ports[0]);
         port_idx++) {
      if (data->rgb_ports[port_idx].port == config->rgb[gpio_idx].port ||
          data->rgb_ports[port_idx].port == NULL) {
        data->rgb_ports[port_idx].port = config->rgb[gpio_idx].port;
        data->rgb_ports[port_idx].rgb_idx_mask |= (1 << gpio_idx);
        data->rgb_ports[port_idx].port_mask |= (1 << config->rgb[gpio_idx].pin);
        break;
      }
    }
  }

  LOG_DBG("Sharp MIP display initialized. Resolution: %dx%d", config->width,
          config->height);

  for (int i = 0; i < sizeof(data->rgb_ports) / sizeof(data->rgb_ports[0]);
       i++) {
    LOG_DBG("RGB port %d: %p, mask: 0x%02x", i, data->rgb_ports[i].port,
            data->rgb_ports[i].rgb_idx_mask);
  }
  LOG_DBG("VCOM thread started");

  return 0;
}

static inline void set_rgb(bool is_msb, int x0, const uint8_t *buf,
                           const struct sharp_mip_config *cfg,
                           const struct sharp_mip_data *data) {
#if CONFIG_SHARP_LS0XXB7_DISPLAY_MODE_COLOR

// Convert from RGB565 to RGB222 by dropping the least significant bits.
#define CVT_5_TO_2_BITS(val) (((val) >> 3) & 0x03)
#define CVT_6_TO_2_BITS(val) (((val) >> 4) & 0x03)

// TODO: Make this endianess-agnostic.
// Extract 2-bit R, G, B values from a lil-endian 16-bit RGB565 pointed by buf.
#define _R(buf) CVT_5_TO_2_BITS(((buf)[1] >> 3) & 0x1f)
#define _G(buf) CVT_6_TO_2_BITS((((buf)[1] & 0x7) << 3) | ((buf)[0] >> 5))
#define _B(buf) CVT_5_TO_2_BITS(((buf)[0]) & 0x1f)

// Get either MSB or LSB from from a 2-bit value.
#define GET_SIG_BIT(v, is_msb) ((v) >> ((is_msb) ? 0 : 1) & 0x1)

// Set bit on port register if rgb_idx is on this port.
#define VAL_BIT_IF_ON_PORT(port, rgb_idx, v2bit)                   \
  ((data->rgb_ports[(port)].rgb_idx_mask & BIT(rgb_idx))           \
       ? (GET_SIG_BIT((v2bit), is_msb) << cfg->rgb[(rgb_idx)].pin) \
       : 0)

  // Offset into buf for 16-bit RGB565 data at column x0.
  const uint8_t *b = buf + 2 * x0;

  for (int port_idx = 0;
       port_idx < sizeof(data->rgb_ports) / sizeof(data->rgb_ports[0]);
       port_idx++) {
    // Skip port if it's not connected to any RGB pins.
    if (data->rgb_ports[port_idx].port == NULL) {
      continue;
    }

    const gpio_port_value_t val = VAL_BIT_IF_ON_PORT(port_idx, 0, _R(b + 0)) |
                                  VAL_BIT_IF_ON_PORT(port_idx, 1, _R(b + 2)) |
                                  VAL_BIT_IF_ON_PORT(port_idx, 2, _G(b + 0)) |
                                  VAL_BIT_IF_ON_PORT(port_idx, 3, _G(b + 2)) |
                                  VAL_BIT_IF_ON_PORT(port_idx, 4, _B(b + 0)) |
                                  VAL_BIT_IF_ON_PORT(port_idx, 5, _B(b + 2));

    gpio_port_set_masked(data->rgb_ports[port_idx].port,
                         data->rgb_ports[port_idx].port_mask, val);
  }

#elif CONFIG_SHARP_LS0XXB7_DISPLAY_MODE_MONOCHROME

#define GET_BUF_BIT(buf, x) (((uint8_t *)buf)[(x) / 8] >> ((x) % 8) & 0x1)

#define VAL_BIT_IF_ON_PORT(port, rgb_idx, buf, x)             \
  ((data->rgb_ports[(port)].rgb_idx_mask & BIT(rgb_idx))      \
       ? (GET_BUF_BIT((buf), (x)) << cfg->rgb[(rgb_idx)].pin) \
       : 0)

  for (int port_idx = 0;
       port_idx < sizeof(data->rgb_ports) / sizeof(data->rgb_ports[0]);
       port_idx++) {
    // Skip port if it's not connected to any RGB pins.
    if (data->rgb_ports[port_idx].port == NULL) {
      continue;
    }

    const gpio_port_value_t val = VAL_BIT_IF_ON_PORT(port_idx, 0, buf, x0 + 0) |
                                  VAL_BIT_IF_ON_PORT(port_idx, 1, buf, x0 + 1) |
                                  VAL_BIT_IF_ON_PORT(port_idx, 2, buf, x0 + 0) |
                                  VAL_BIT_IF_ON_PORT(port_idx, 3, buf, x0 + 1) |
                                  VAL_BIT_IF_ON_PORT(port_idx, 4, buf, x0 + 0) |
                                  VAL_BIT_IF_ON_PORT(port_idx, 5, buf, x0 + 1);

    gpio_port_set_masked(data->rgb_ports[port_idx].port,
                         data->rgb_ports[port_idx].port_mask, val);
  }

#endif  // CONFIG_SHARP_LS0XXB7_DISPLAY_MODE
}

static inline void set(const struct gpio_dt_spec *gpio) {
  gpio_pin_set_raw(gpio->port, gpio->pin, 1);
}
static inline void clear(const struct gpio_dt_spec *gpio) {
  gpio_pin_set_raw(gpio->port, gpio->pin, 0);
}
static inline void toggle(const struct gpio_dt_spec *gpio) {
  int val = gpio_pin_get_raw(gpio->port, gpio->pin);
  gpio_pin_set_raw(gpio->port, gpio->pin, !val);
}

static inline void send_half_line(bool is_msb, const void *buf,
                                  const struct sharp_mip_config *cfg,
                                  const struct sharp_mip_data *data) {
  clear(&cfg->bsp);
  set(&cfg->bsp);

  for (int i = 1; i <= 144; i++) {
    toggle(&cfg->bck);

    if (i == 2) {
      clear(&cfg->bsp);
    }
    if (i >= 1 && i <= 140) {
      // Prepare RGB pins for the next BCK edge.
      set_rgb(is_msb, /*x0=*/2 * (i - 1), buf, cfg, data);
    }
  }
}

static int sharp_mip_write(const struct device *dev, const uint16_t x,
                           const uint16_t y,
                           const struct display_buffer_descriptor *desc,
                           const void *buf) {
  const struct sharp_mip_config *cfg = dev->config;

  // The display only supports partial updates at full rows. I.e.: we can
  // start drawing at (y = 10, x = 0), but _not_ at (y, x = 10).
  if (x != 0) {
    LOG_ERR(
        "Full screen or partial updates must be at full rows! x: %d, y = %d, "
        "buf size: %d",
        x, y, desc->buf_size);
    return -ENOTSUP;
  }

  // Offset for GCK. For full-screen updates, this is 2. For partial updates,
  // it's 2 plus the number of half-lines to skip.
  const int gck_offset = 2 + y * 2;

  // The last GCK index of the last sent half-line.
  const int gck_last_half_line = gck_offset + 2 * desc->height - 1;

  // LOG_DBG(
  //     "Sharp MIP display write. x: %d, y: %d; buf size: %d (buf height:
  //     %d,buf " "width: %d). Offset: %d, last: %d", x, y, desc->buf_size,
  //     desc->height, desc->width, gck_offset, gck_last_half_line);

  clear(&cfg->gck);
  set(&cfg->intb);
  set(&cfg->gsp);

  // 1-indexed to match the datasheet and improve debugging.
  for (int i = 1; i <= 568; i++) {
    toggle(&cfg->gck);

    if (i == 2) {
      clear(&cfg->gsp);
    }

    if (i == gck_offset) {
      send_half_line(/*is_msb=*/true, buf, cfg, dev->data);
    } else if (i >= gck_offset + 1 && i <= gck_last_half_line) {
      set(&cfg->gen);

      // This display sends MSB for a full line at a GCK edge and then the LSB
      // for the same line at the next GCK edge.
      const uint16_t display_line = (i - gck_offset) / 2;
      const bool is_msb = (i - gck_offset) % 2 == 0;

#if CONFIG_SHARP_LS0XXB7_DISPLAY_MODE_COLOR
      // Color buffer, 16 bits per pixel.
      // Each line has buf_width pixels, which is buf_width * 2.
      uint8_t *line_buf = (uint8_t *)buf + display_line * desc->width * 2;
#elif CONFIG_SHARP_LS0XXB7_DISPLAY_MODE_MONOCHROME
      // Monochrome buffer, 1 bit per pixel.
      // Each line has 280 pixels, which is 280 / 8 = 35 bytes.
      uint8_t *line_buf = (uint8_t *)buf + display_line * 35;
#endif  // CONFIG_SHARP_LS0XXB7_DISPLAY_MODE

      send_half_line(is_msb, line_buf, cfg, dev->data);
      clear(&cfg->gen);
    } else if (i == gck_last_half_line + 1) {
      set(&cfg->gen);
      clear(&cfg->gen);
    } else if (i == 566) {
      clear(&cfg->intb);
    }
  }

  return 0;
}

static void sharp_mip_get_capabilities(
    const struct device *dev, struct display_capabilities *capabilities) {
  const struct sharp_mip_config *config = dev->config;

  capabilities->x_resolution = config->width;
  capabilities->y_resolution = config->height;

#if CONFIG_SHARP_LS0XXB7_DISPLAY_MODE_COLOR
  // TODO: This is wasteful. We are requesting 16 bits per pixel here, and we
  // only need 6 bits per pixel. In 2025-03, Zephyr introduced
  // (https://github.com/zephyrproject-rtos/zephyr/pull/86821) the
  // PIXEL_FORMAT_L_8. It's intended for 8-bit grayscale, but I think we can
  // use it for 6-bit color here, saving us half the buffer size.
  capabilities->supported_pixel_formats = PIXEL_FORMAT_RGB_565;
  capabilities->current_pixel_format = PIXEL_FORMAT_RGB_565;
#elif CONFIG_SHARP_LS0XXB7_DISPLAY_MODE_MONOCHROME
  capabilities->supported_pixel_formats = PIXEL_FORMAT_MONO10;
  capabilities->current_pixel_format = PIXEL_FORMAT_MONO10;
#endif  // CONFIG_SHARP_LS0XXB7_DISPLAY_MODE

  // We need partial updates to contain full rows. Note that as of writing,
  // this flag only takes effect for monochrome pixel formats.
  capabilities->screen_info = SCREEN_INFO_X_ALIGNMENT_WIDTH;

  // TODO: get from config.
  // capabilities->current_orientation = DISPLAY_ORIENTATION_NORMAL;
  // capabilities->current_orientation = DISPLAY_ORIENTATION_ROTATED_90;
}

struct display_driver_api sharp_mip_driver_api = {
    .write = sharp_mip_write,
    .get_capabilities = sharp_mip_get_capabilities,
};

#define SHARP_MIP_DEFINE(node_id)                                  \
  static struct sharp_mip_data data_##node_id = {                  \
      .rgb_ports =                                                 \
          {                                                        \
              {.port = NULL, .rgb_idx_mask = 0, .port_mask = 0},   \
              {.port = NULL, .rgb_idx_mask = 0, .port_mask = 0},   \
          },                                                       \
  };                                                               \
  static const struct sharp_mip_config config_##node_id = {        \
      .height = DT_PROP(node_id, height),                          \
      .width = DT_PROP(node_id, width),                            \
      .intb = GPIO_DT_SPEC_GET(node_id, intb_gpios),               \
      .gsp = GPIO_DT_SPEC_GET(node_id, gsp_gpios),                 \
      .gck = GPIO_DT_SPEC_GET(node_id, gck_gpios),                 \
      .gen = GPIO_DT_SPEC_GET(node_id, gen_gpios),                 \
      .bsp = GPIO_DT_SPEC_GET(node_id, bsp_gpios),                 \
      .bck = GPIO_DT_SPEC_GET(node_id, bck_gpios),                 \
      .rgb = {GPIO_DT_SPEC_GET_BY_IDX(node_id, rgb_gpios, 0),      \
              GPIO_DT_SPEC_GET_BY_IDX(node_id, rgb_gpios, 1),      \
              GPIO_DT_SPEC_GET_BY_IDX(node_id, rgb_gpios, 2),      \
              GPIO_DT_SPEC_GET_BY_IDX(node_id, rgb_gpios, 3),      \
              GPIO_DT_SPEC_GET_BY_IDX(node_id, rgb_gpios, 4),      \
              GPIO_DT_SPEC_GET_BY_IDX(node_id, rgb_gpios, 5)},     \
      .vcom_vb = GPIO_DT_SPEC_GET(node_id, vb_gpios),              \
      .va = GPIO_DT_SPEC_GET(node_id, va_gpios),                   \
      .vcom_freq = DT_PROP(node_id, vcom_freq),                    \
  };                                                               \
  DEVICE_DT_DEFINE(node_id, sharp_mip_init, NULL, &data_##node_id, \
                   &config_##node_id, POST_KERNEL,                 \
                   CONFIG_DISPLAY_INIT_PRIORITY, &sharp_mip_driver_api);

DT_FOREACH_STATUS_OKAY(sharp_ls0xxb7_bitbang, SHARP_MIP_DEFINE);
```

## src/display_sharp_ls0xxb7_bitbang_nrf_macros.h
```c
// These are convenience macros for the Sharp LS0XXB7 display driver for nRF
// SoCs. They are low-level, below-Zephyr fast GPIO macros for the nRF SoCs
// only. These are pretty awful, but provide a scape hatch for speed by direct
// register access.

// TODO: make this more generic. Right now it has hardcoded pin numbers in a
// bunch of places.

#ifndef _DISPLAY_SHARP_LS0XXB7_BITBANG_NRF_MACROS_H_
#define _DISPLAY_SHARP_LS0XXB7_BITBANG_NRF_MACROS_H_

#include <zephyr/device.h>
#include <zephyr/drivers/gpio.h>
#include <zephyr/dt-bindings/gpio/nordic-nrf-gpio.h>

#define D_GPIO_PORT(name, idx) \
  DT_PROP_BY_PHANDLE_IDX(DT_NODELABEL(sharp_display), name##_gpios, idx, port)
#define D_GPIO_PIN(name, idx) \
  DT_GPIO_PIN_BY_IDX(DT_NODELABEL(sharp_display), name##_gpios, idx)

#define D_NRF_REG(name, idx) CONCAT(NRF_P, D_GPIO_PORT(name, idx))

// Fast GPIO macros.
// To manipulate a pin defined as intb-gpios, use:
// GSET_IDX(intb, 0);
// To manipulate a pin defined as rgb-gpios[2], use:
// GSET_IDX(rgb, 2);
#define GSET_IDX(name, idx) \
  D_NRF_REG(name, idx)->OUTSET = (1 << D_GPIO_PIN(name, idx))
#define GCLR_IDX(name, idx) \
  D_NRF_REG(name, idx)->OUTCLR = (1 << D_GPIO_PIN(name, idx))
#define GTOG_IDX(name, idx) \
  D_NRF_REG(name, idx)->OUT ^= (1 << D_GPIO_PIN(name, idx))
#define GVAL_IDX(name, idx, val) \
  do {                           \
    if (val) {                   \
      GSET_IDX(name, idx);       \
    } else {                     \
      GCLR_IDX(name, idx);       \
    }                            \
  } while (0)

// Convenience macros for the first pin of each phandle-array group.
#define GSET(name) GSET_IDX(name, 0)
#define GCLR(name) GCLR_IDX(name, 0)
#define GTOG(name) GTOG_IDX(name, 0)
#define GVAL(name, val) GVAL_IDX(name, 0, val)

// RGB pins connected to &gpio0. Indexed into rgb-gpios.
#define RGB_P0_MASK                                       \
  (1 << D_GPIO_PIN(rgb, 1)) | (1 << D_GPIO_PIN(rgb, 3)) | \
      (1 << D_GPIO_PIN(rgb, 5))

// RGB pins connected to &gpio1. Indexed into rgb-gpios.
#define RGB_P1_MASK                                       \
  (1 << D_GPIO_PIN(rgb, 0)) | (1 << D_GPIO_PIN(rgb, 2)) | \
      (1 << D_GPIO_PIN(rgb, 4))

// `val` is a 6-bit value for a half-line: The least significant 2 bits are red,
// next 2 are green, and most significant 2 are blue values.
// P0:
// 0.00 - r1
// 0.02 - b1
// 0.03 - g1
#define SET_RGB_P0(val)                                            \
  do {                                                             \
    NRF_P0->OUTCLR = RGB_P0_MASK;                                  \
    NRF_P0->OUTSET = (((val >> 5) & 0x01) << D_GPIO_PIN(rgb, 1)) | \
                     (((val >> 1) & 0x01) << D_GPIO_PIN(rgb, 5)) | \
                     (((val >> 3) & 0x01) << D_GPIO_PIN(rgb, 3));  \
  } while (0)

// P1:
// 1.12 - r0
// 1.13 - g0
// 1.14 - b0
#define SET_RGB_P1(val)                                            \
  do {                                                             \
    NRF_P1->OUTCLR = RGB_P1_MASK;                                  \
    NRF_P1->OUTSET = (((val >> 4) & 0x01) << D_GPIO_PIN(rgb, 0)) | \
                     (((val >> 2) & 0x01) << D_GPIO_PIN(rgb, 2)) | \
                     (((val >> 0) & 0x01) << D_GPIO_PIN(rgb, 4));  \
  } while (0)

// This is used in the tightest, innermost loop, so we want to keep it fast.
// We can likely make up some time by connecting all rgb pins to the same port
// in a next shield revision.
#define SET_RGB(val)   \
  do {                 \
    SET_RGB_P0((val)); \
    SET_RGB_P1((val)); \
  } while (0)

#endif  // _DISPLAY_SHARP_LS0XXB7_BITBANG_NRF_MACROS_H_
```
